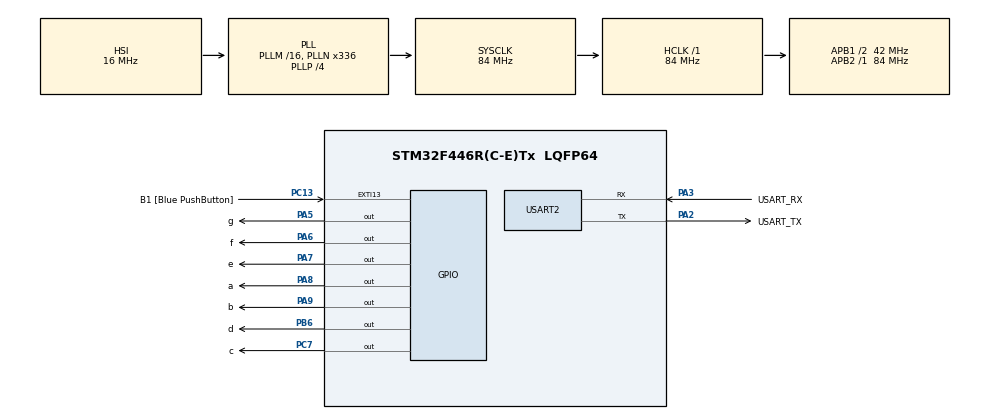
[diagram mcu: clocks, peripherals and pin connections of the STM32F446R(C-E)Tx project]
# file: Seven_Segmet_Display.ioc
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Mcu.Family=STM32F4
Mcu.Name=STM32F446R(C-E)Tx
Mcu.Package=LQFP64
NVIC.PriorityGroup=NVIC_PRIORITYGROUP_0
PA13.GPIO_Label=TMS
PA13.Mode=Serial_Wire
PA13.Signal=SYS_JTMS-SWDIO
PA14.GPIO_Label=TCK
PA14.Mode=Serial_Wire
PA14.Signal=SYS_JTCK-SWCLK
PA2.GPIO_Label=USART_TX
PA2.Mode=Asynchronous
PA2.Signal=USART2_TX
PA3.GPIO_Label=USART_RX
PA3.Mode=Asynchronous
PA3.Signal=USART2_RX
PA5.GPIO_Label=g
PA5.Signal=GPIO_Output
PA6.GPIO_Label=f
PA6.Signal=GPIO_Output
PA7.GPIO_Label=e
PA7.Signal=GPIO_Output
PA8.GPIO_Label=a
PA8.Signal=GPIO_Output
PA9.GPIO_Label=b
PA9.Signal=GPIO_Output
PB3.GPIO_Label=SWO
PB3.Signal=SYS_JTDO-SWO
PB6.GPIO_Label=d
PB6.Signal=GPIO_Output
PC13.GPIO_Label=B1 [Blue PushButton]
PC13.GPIO_ModeDefaultEXTI=GPIO_MODE_IT_FALLING
PC13.Signal=GPXTI13
PC14-OSC32_IN.Mode=LSE-External-Oscillator
PC14-OSC32_IN.Signal=RCC_OSC32_IN
PC15-OSC32_OUT.Mode=LSE-External-Oscillator
PC15-OSC32_OUT.Signal=RCC_OSC32_OUT
PC7.GPIO_Label=c
PC7.Signal=GPIO_Output
PH0-OSC_IN.Mode=HSE-External-Oscillator
PH0-OSC_IN.Signal=RCC_OSC_IN
PH1-OSC_OUT.Mode=HSE-External-Oscillator
PH1-OSC_OUT.Signal=RCC_OSC_OUT
ProjectManager.HeapSize=0x200
ProjectManager.StackSize=0x400
ProjectManager.TargetToolchain=STM32CubeIDE
RCC.48MHZClocksFreq_Value=84000000
RCC.AHBFreq_Value=84000000
RCC.APB1CLKDivider=RCC_HCLK_DIV2
RCC.APB1Freq_Value=42000000
RCC.APB1TimFreq_Value=84000000
RCC.APB2Freq_Value=84000000
RCC.APB2TimFreq_Value=84000000
RCC.CortexFreq_Value=84000000
RCC.FLatency-AdvancedSettings=FLASH_LATENCY_2
RCC.HCLKFreq_Value=84000000
RCC.HSE_VALUE=8000000
RCC.HSI_VALUE=16000000
RCC.PLLN=336
RCC.PLLP=RCC_PLLP_DIV4
RCC.SYSCLKFreq_VALUE=84000000
RCC.SYSCLKSource=RCC_SYSCLKSOURCE_PLLCLK
RCC.USBFreq_Value=168000000
RCC.VCOOutputFreq_Value=336000000
USART2.VirtualMode=VM_ASYNC
board=NUCLEO-F446RE

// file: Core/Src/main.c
/* USER CODE BEGIN Header */
/**
 ******************************************************************************
 * @file           : main.c
 * @brief          : Main program body
 ******************************************************************************
 * @attention
 *
 * Copyright (c) 2025 STMicroelectronics.
 * All rights reserved.
 *
 * This software is licensed under terms that can be found in the LICENSE file
 * in the root directory of this software component.
 * If no LICENSE file comes with this software, it is provided AS-IS.
 *
 ******************************************************************************
 */
/* USER CODE END Header */
#include "main.h"

UART_HandleTypeDef huart2;

void SystemClock_Config(void);
static void MX_GPIO_Init(void);
static void MX_USART2_UART_Init(void);

/* USER CODE BEGIN 0 */
void gpio_reset(void)
{
  HAL_GPIO_WritePin(a_GPIO_Port, a_Pin, GPIO_PIN_RESET);
  HAL_GPIO_WritePin(b_GPIO_Port, b_Pin, GPIO_PIN_RESET);
  HAL_GPIO_WritePin(c_GPIO_Port, c_Pin, GPIO_PIN_RESET);
  HAL_GPIO_WritePin(d_GPIO_Port, d_Pin, GPIO_PIN_RESET);
  HAL_GPIO_WritePin(e_GPIO_Port, e_Pin, GPIO_PIN_RESET);
  HAL_GPIO_WritePin(f_GPIO_Port, f_Pin, GPIO_PIN_RESET);
  HAL_GPIO_WritePin(g_GPIO_Port, g_Pin, GPIO_PIN_RESET);
}

void printSSD(uint8_t num)
{
  gpio_reset();

  switch (num)
  {
  case 0:
    HAL_GPIO_WritePin(a_GPIO_Port, a_Pin, GPIO_PIN_SET);
    HAL_GPIO_WritePin(b_GPIO_Port, b_Pin, GPIO_PIN_SET);
    HAL_GPIO_WritePin(c_GPIO_Port, c_Pin, GPIO_PIN_SET);
    HAL_GPIO_WritePin(d_GPIO_Port, d_Pin, GPIO_PIN_SET);
    HAL_GPIO_WritePin(e_GPIO_Port, e_Pin, GPIO_PIN_SET);
    HAL_GPIO_WritePin(f_GPIO_Port, f_Pin, GPIO_PIN_SET);
    HAL_GPIO_WritePin(g_GPIO_Port, g_Pin, GPIO_PIN_RESET);
    break;

  case 1:
    HAL_GPIO_WritePin(a_GPIO_Port, a_Pin, GPIO_PIN_RESET);
    HAL_GPIO_WritePin(b_GPIO_Port, b_Pin, GPIO_PIN_SET);
    HAL_GPIO_WritePin(c_GPIO_Port, c_Pin, GPIO_PIN_SET);
    HAL_GPIO_WritePin(d_GPIO_Port, d_Pin, GPIO_PIN_RESET);
    HAL_GPIO_WritePin(e_GPIO_Port, e_Pin, GPIO_PIN_RESET);
    HAL_GPIO_WritePin(f_GPIO_Port, f_Pin, GPIO_PIN_RESET);
    HAL_GPIO_WritePin(g_GPIO_Port, g_Pin, GPIO_PIN_RESET);
    break;

  case 2:
    HAL_GPIO_WritePin(a_GPIO_Port, a_Pin, GPIO_PIN_SET);
    HAL_GPIO_WritePin(b_GPIO_Port, b_Pin, GPIO_PIN_SET);
    HAL_GPIO_WritePin(c_GPIO_Port, c_Pin, GPIO_PIN_RESET);
    HAL_GPIO_WritePin(d_GPIO_Port, d_Pin, GPIO_PIN_SET);
    HAL_GPIO_WritePin(e_GPIO_Port, e_Pin, GPIO_PIN_SET);
    HAL_GPIO_WritePin(f_GPIO_Port, f_Pin, GPIO_PIN_RESET);
    HAL_GPIO_WritePin(g_GPIO_Port, g_Pin, GPIO_PIN_SET);
    break;

  case 3:
    HAL_GPIO_WritePin(a_GPIO_Port, a_Pin, GPIO_PIN_SET);
    HAL_GPIO_WritePin(b_GPIO_Port, b_Pin, GPIO_PIN_SET);
    HAL_GPIO_WritePin(c_GPIO_Port, c_Pin, GPIO_PIN_SET);
    HAL_GPIO_WritePin(d_GPIO_Port, d_Pin, GPIO_PIN_SET);
    HAL_GPIO_WritePin(e_GPIO_Port, e_Pin, GPIO_PIN_RESET);
    HAL_GPIO_WritePin(f_GPIO_Port, f_Pin, GPIO_PIN_RESET);
    HAL_GPIO_WritePin(g_GPIO_Port, g_Pin, GPIO_PIN_SET);
    break;

  case 4:
    HAL_GPIO_WritePin(a_GPIO_Port, a_Pin, GPIO_PIN_RESET);
    HAL_GPIO_WritePin(b_GPIO_Port, b_Pin, GPIO_PIN_SET);
    HAL_GPIO_WritePin(c_GPIO_Port, c_Pin, GPIO_PIN_SET);
    HAL_GPIO_WritePin(d_GPIO_Port, d_Pin, GPIO_PIN_RESET);
    HAL_GPIO_WritePin(e_GPIO_Port, e_Pin, GPIO_PIN_RESET);
    HAL_GPIO_WritePin(f_GPIO_Port, f_Pin, GPIO_PIN_SET);
    HAL_GPIO_WritePin(g_GPIO_Port, g_Pin, GPIO_PIN_SET);
    break;

  case 5:
    HAL_GPIO_WritePin(a_GPIO_Port, a_Pin, GPIO_PIN_SET);
    HAL_GPIO_WritePin(b_GPIO_Port, b_Pin, GPIO_PIN_RESET);
    HAL_GPIO_WritePin(c_GPIO_Port, c_Pin, GPIO_PIN_SET);
    HAL_GPIO_WritePin(d_GPIO_Port, d_Pin, GPIO_PIN_SET);
    HAL_GPIO_WritePin(e_GPIO_Port, e_Pin, GPIO_PIN_RESET);
    HAL_GPIO_WritePin(f_GPIO_Port, f_Pin, GPIO_PIN_SET);
    HAL_GPIO_WritePin(g_GPIO_Port, g_Pin, GPIO_PIN_SET);
    break;

  case 6:
    HAL_GPIO_WritePin(a_GPIO_Port, a_Pin, GPIO_PIN_SET);
    HAL_GPIO_WritePin(b_GPIO_Port, b_Pin, GPIO_PIN_RESET);
    HAL_GPIO_WritePin(c_GPIO_Port, c_Pin, GPIO_PIN_SET);
    HAL_GPIO_WritePin(d_GPIO_Port, d_Pin, GPIO_PIN_SET);
    HAL_GPIO_WritePin(e_GPIO_Port, e_Pin, GPIO_PIN_SET);
    HAL_GPIO_WritePin(f_GPIO_Port, f_Pin, GPIO_PIN_SET);
    HAL_GPIO_WritePin(g_GPIO_Port, g_Pin, GPIO_PIN_SET);
    break;

  case 7:
    HAL_GPIO_WritePin(a_GPIO_Port, a_Pin, GPIO_PIN_SET);
    HAL_GPIO_WritePin(b_GPIO_Port, b_Pin, GPIO_PIN_SET);
    HAL_GPIO_WritePin(c_GPIO_Port, c_Pin, GPIO_PIN_SET);
    HAL_GPIO_WritePin(d_GPIO_Port, d_Pin, GPIO_PIN_RESET);
    HAL_GPIO_WritePin(e_GPIO_Port, e_Pin, GPIO_PIN_RESET);
    HAL_GPIO_WritePin(f_GPIO_Port, f_Pin, GPIO_PIN_RESET);
    HAL_GPIO_WritePin(g_GPIO_Port, g_Pin, GPIO_PIN_RESET);
    break;

  case 8:
    HAL_GPIO_WritePin(a_GPIO_Port, a_Pin, GPIO_PIN_SET);
    HAL_GPIO_WritePin(b_GPIO_Port, b_Pin, GPIO_PIN_SET);
    HAL_GPIO_WritePin(c_GPIO_Port, c_Pin, GPIO_PIN_SET);
    HAL_GPIO_WritePin(d_GPIO_Port, d_Pin, GPIO_PIN_SET);
    HAL_GPIO_WritePin(e_GPIO_Port, e_Pin, GPIO_PIN_SET);
    HAL_GPIO_WritePin(f_GPIO_Port, f_Pin, GPIO_PIN_SET);
    HAL_GPIO_WritePin(g_GPIO_Port, g_Pin, GPIO_PIN_SET);
    break;

  case 9:
    HAL_GPIO_WritePin(a_GPIO_Port, a_Pin, GPIO_PIN_SET);
    HAL_GPIO_WritePin(b_GPIO_Port, b_Pin, GPIO_PIN_SET);
    HAL_GPIO_WritePin(c_GPIO_Port, c_Pin, GPIO_PIN_SET);
    HAL_GPIO_WritePin(d_GPIO_Port, d_Pin, GPIO_PIN_SET);
    HAL_GPIO_WritePin(e_GPIO_Port, e_Pin, GPIO_PIN_RESET);
    HAL_GPIO_WritePin(f_GPIO_Port, f_Pin, GPIO_PIN_SET);
    HAL_GPIO_WritePin(g_GPIO_Port, g_Pin, GPIO_PIN_SET);
    break;
  }
}
/* USER CODE END 0 */

int main(void)
{

  /* MCU Configuration--------------------------------------------------------*/

  /* Reset of all peripherals, Initializes the Flash interface and the Systick. */
  HAL_Init();

  /* Configure the system clock */
  SystemClock_Config();

  /* Initialize all configured peripherals */
  MX_GPIO_Init();
  MX_USART2_UART_Init();
  /* USER CODE BEGIN 2 */
  uint8_t data = 0;
  /* USER CODE END 2 */

  /* Infinite loop */
  while (1)
  {
    printSSD(data);
    HAL_Delay(1000);
    printSSD(++data);
    HAL_Delay(1000);
    printSSD(++data);
    HAL_Delay(1000);
    printSSD(++data);
    HAL_Delay(1000);
    printSSD(++data);
    HAL_Delay(1000);
    printSSD(++data);
    HAL_Delay(1000);
    printSSD(++data);
    HAL_Delay(1000);
    printSSD(++data);
    HAL_Delay(1000);
    printSSD(++data);
    HAL_Delay(1000);
    printSSD(++data);
    HAL_Delay(1000);
    data = 0;
  }
}

void SystemClock_Config(void)
{
  RCC_OscInitTypeDef RCC_OscInitStruct = {0};
  RCC_ClkInitTypeDef RCC_ClkInitStruct = {0};

  /** Configure the main internal regulator output voltage
   */
  __HAL_RCC_PWR_CLK_ENABLE();
  __HAL_PWR_VOLTAGESCALING_CONFIG(PWR_REGULATOR_VOLTAGE_SCALE3);

  /** Initializes the RCC Oscillators according to the specified parameters
   * in the RCC_OscInitTypeDef structure.
   */
  RCC_OscInitStruct.OscillatorType = RCC_OSCILLATORTYPE_HSI;
  RCC_OscInitStruct.HSIState = RCC_HSI_ON;
  RCC_OscInitStruct.HSICalibrationValue = RCC_HSICALIBRATION_DEFAULT;
  RCC_OscInitStruct.PLL.PLLState = RCC_PLL_ON;
  RCC_OscInitStruct.PLL.PLLSource = RCC_PLLSOURCE_HSI;
  RCC_OscInitStruct.PLL.PLLM = 16;
  RCC_OscInitStruct.PLL.PLLN = 336;
  RCC_OscInitStruct.PLL.PLLP = RCC_PLLP_DIV4;
  RCC_OscInitStruct.PLL.PLLQ = 2;
  RCC_OscInitStruct.PLL.PLLR = 2;
  if (HAL_RCC_OscConfig(&RCC_OscInitStruct) != HAL_OK)
  {
    Error_Handler();
  }

  /** Initializes the CPU, AHB and APB buses clocks
   */
  RCC_ClkInitStruct.ClockType = RCC_CLOCKTYPE_HCLK | RCC_CLOCKTYPE_SYSCLK | RCC_CLOCKTYPE_PCLK1 | RCC_CLOCKTYPE_PCLK2;
  RCC_ClkInitStruct.SYSCLKSource = RCC_SYSCLKSOURCE_PLLCLK;
  RCC_ClkInitStruct.AHBCLKDivider = RCC_SYSCLK_DIV1;
  RCC_ClkInitStruct.APB1CLKDivider = RCC_HCLK_DIV2;
  RCC_ClkInitStruct.APB2CLKDivider = RCC_HCLK_DIV1;

  if (HAL_RCC_ClockConfig(&RCC_ClkInitStruct, FLASH_LATENCY_2) != HAL_OK)
  {
    Error_Handler();
  }
}

static void MX_USART2_UART_Init(void)
{

  huart2.Instance = USART2;
  huart2.Init.BaudRate = 115200;
  huart2.Init.WordLength = UART_WORDLENGTH_8B;
  huart2.Init.StopBits = UART_STOPBITS_1;
  huart2.Init.Parity = UART_PARITY_NONE;
  huart2.Init.Mode = UART_MODE_TX_RX;
  huart2.Init.HwFlowCtl = UART_HWCONTROL_NONE;
  huart2.Init.OverSampling = UART_OVERSAMPLING_16;
  if (HAL_UART_Init(&huart2) != HAL_OK)
  {
    Error_Handler();
  }
}

static void MX_GPIO_Init(void)
{
  GPIO_InitTypeDef GPIO_InitStruct = {0};

  /* GPIO Ports Clock Enable */
  __HAL_RCC_GPIOC_CLK_ENABLE();
  __HAL_RCC_GPIOH_CLK_ENABLE();
  __HAL_RCC_GPIOA_CLK_ENABLE();
  __HAL_RCC_GPIOB_CLK_ENABLE();

  /*Configure GPIO pin Output Level */
  HAL_GPIO_WritePin(GPIOA, g_Pin | f_Pin | e_Pin | a_Pin | b_Pin, GPIO_PIN_RESET);

  /*Configure GPIO pin Output Level */
  HAL_GPIO_WritePin(c_GPIO_Port, c_Pin, GPIO_PIN_RESET);

  /*Configure GPIO pin Output Level */
  HAL_GPIO_WritePin(d_GPIO_Port, d_Pin, GPIO_PIN_RESET);

  /*Configure GPIO pin : B1_Pin */
  GPIO_InitStruct.Pin = B1_Pin;
  GPIO_InitStruct.Mode = GPIO_MODE_IT_FALLING;
  GPIO_InitStruct.Pull = GPIO_NOPULL;
  HAL_GPIO_Init(B1_GPIO_Port, &GPIO_InitStruct);

  /*Configure GPIO pins : g_Pin f_Pin e_Pin a_Pin
                           b_Pin */
  GPIO_InitStruct.Pin = g_Pin | f_Pin | e_Pin | a_Pin | b_Pin;
  GPIO_InitStruct.Mode = GPIO_MODE_OUTPUT_PP;
  GPIO_InitStruct.Pull = GPIO_NOPULL;
  GPIO_InitStruct.Speed = GPIO_SPEED_FREQ_LOW;
  HAL_GPIO_Init(GPIOA, &GPIO_InitStruct);

  /*Configure GPIO pin : c_Pin */
  GPIO_InitStruct.Pin = c_Pin;
  GPIO_InitStruct.Mode = GPIO_MODE_OUTPUT_PP;
  GPIO_InitStruct.Pull = GPIO_NOPULL;
  GPIO_InitStruct.Speed = GPIO_SPEED_FREQ_LOW;
  HAL_GPIO_Init(c_GPIO_Port, &GPIO_InitStruct);

  /*Configure GPIO pin : d_Pin */
  GPIO_InitStruct.Pin = d_Pin;
  GPIO_InitStruct.Mode = GPIO_MODE_OUTPUT_PP;
  GPIO_InitStruct.Pull = GPIO_NOPULL;
  GPIO_InitStruct.Speed = GPIO_SPEED_FREQ_LOW;
  HAL_GPIO_Init(d_GPIO_Port, &GPIO_InitStruct);

}

void Error_Handler(void)
{
  __disable_irq();
  while (1)
  {
  }
}
